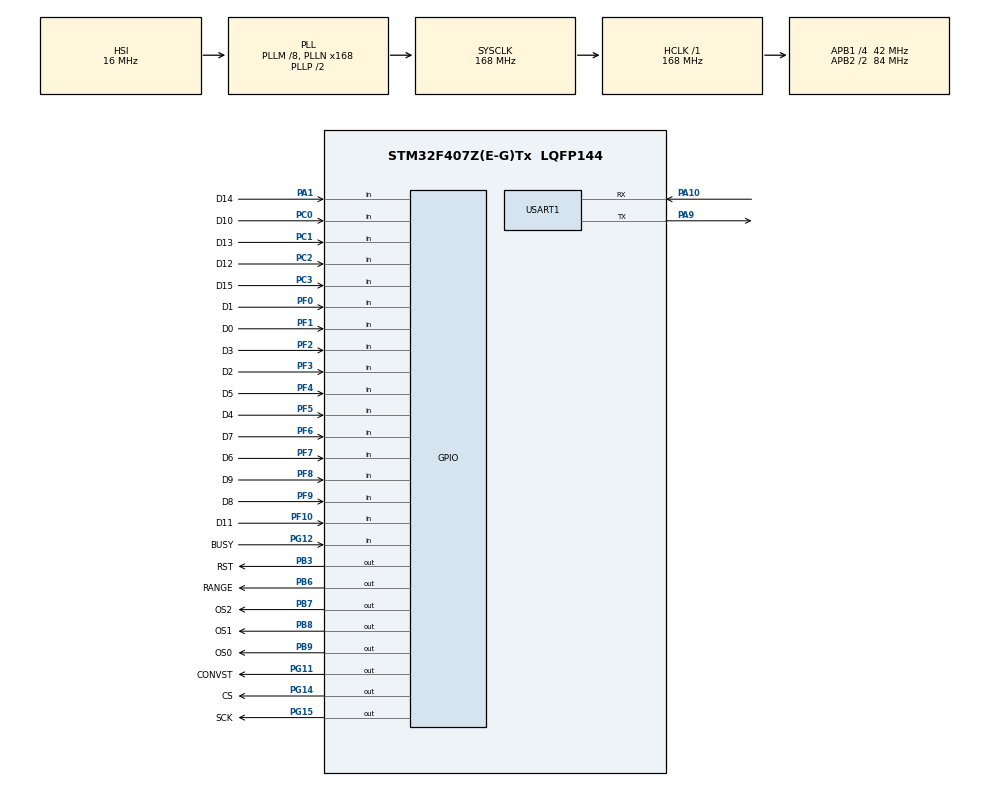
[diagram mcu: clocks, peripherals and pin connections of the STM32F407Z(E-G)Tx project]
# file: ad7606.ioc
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Mcu.Family=STM32F4
Mcu.Name=STM32F407Z(E-G)Tx
Mcu.Package=LQFP144
NVIC.PriorityGroup=NVIC_PRIORITYGROUP_4
PA1.GPIO_Label=D14
PA1.GPIO_PuPd=GPIO_NOPULL
PA1.Signal=GPIO_Input
PA10.Mode=Asynchronous
PA10.Signal=USART1_RX
PA13.Mode=Serial_Wire
PA13.Signal=SYS_JTMS-SWDIO
PA14.Mode=Serial_Wire
PA14.Signal=SYS_JTCK-SWCLK
PA9.Mode=Asynchronous
PA9.Signal=USART1_TX
PB3.GPIO_Label=RST
PB3.PinState=GPIO_PIN_SET
PB3.Signal=GPIO_Output
PB6.GPIO_Label=RANGE
PB6.Signal=GPIO_Output
PB7.GPIO_Label=OS2
PB7.Signal=GPIO_Output
PB8.GPIO_Label=OS1
PB8.Signal=GPIO_Output
PB9.GPIO_Label=OS0
PB9.Signal=GPIO_Output
PC0.GPIO_Label=D10
PC0.Signal=GPIO_Input
PC1.GPIO_Label=D13
PC1.Signal=GPIO_Input
PC2.GPIO_Label=D12
PC2.Signal=GPIO_Input
PC3.GPIO_Label=D15
PC3.Signal=GPIO_Input
PF0.GPIO_Label=D1
PF0.Signal=GPIO_Input
PF1.GPIO_Label=D0
PF1.Signal=GPIO_Input
PF10.GPIO_Label=D11
PF10.Signal=GPIO_Input
PF2.GPIO_Label=D3
PF2.Signal=GPIO_Input
PF3.GPIO_Label=D2
PF3.Signal=GPIO_Input
PF4.GPIO_Label=D5
PF4.Signal=GPIO_Input
PF5.GPIO_Label=D4
PF5.Signal=GPIO_Input
PF6.GPIO_Label=D7
PF6.Signal=GPIO_Input
PF7.GPIO_Label=D6
PF7.Signal=GPIO_Input
PF8.GPIO_Label=D9
PF8.GPIO_PuPd=GPIO_NOPULL
PF8.Signal=GPIO_Input
PF9.GPIO_Label=D8
PF9.Signal=GPIO_Input
PG11.GPIO_Label=CONVST
PG11.Signal=GPIO_Output
PG12.GPIO_Label=BUSY
PG12.GPIO_PuPd=GPIO_PULLUP
PG12.Signal=GPIO_Input
PG14.GPIO_Label=CS
PG14.PinState=GPIO_PIN_SET
PG14.Signal=GPIO_Output
PG15.GPIO_Label=SCK
PG15.PinState=GPIO_PIN_SET
PG15.Signal=GPIO_Output
PH0-OSC_IN.Mode=HSE-External-Oscillator
PH0-OSC_IN.Signal=RCC_OSC_IN
PH1-OSC_OUT.Mode=HSE-External-Oscillator
PH1-OSC_OUT.Signal=RCC_OSC_OUT
ProjectManager.HeapSize=0x200
ProjectManager.StackSize=0x400
ProjectManager.TargetToolchain=MDK-ARM V5.32
RCC.48MHZClocksFreq_Value=84000000
RCC.AHBFreq_Value=168000000
RCC.APB1CLKDivider=RCC_HCLK_DIV4
RCC.APB1Freq_Value=42000000
RCC.APB1TimFreq_Value=84000000
RCC.APB2CLKDivider=RCC_HCLK_DIV2
RCC.APB2Freq_Value=84000000
RCC.APB2TimFreq_Value=168000000
RCC.CortexFreq_Value=168000000
RCC.HCLKFreq_Value=168000000
RCC.HSE_VALUE=25000000
RCC.HSI_VALUE=16000000
RCC.LSE_VALUE=32768
RCC.PLLM=8
RCC.PLLN=168
RCC.SYSCLKFreq_VALUE=168000000
RCC.SYSCLKSource=RCC_SYSCLKSOURCE_PLLCLK
RCC.VCOOutputFreq_Value=336000000
USART1.VirtualMode=VM_ASYNC
board=custom

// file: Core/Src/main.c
/* USER CODE BEGIN Header */
/*
PC3->D15	PA1->D14
PC1->D13	PC2->D12
PF10->D11	PC0->D10
PF8->D9	PF9->D8
PF6->D7(MISO)	PF7->D6
PF4->D5	PF5->D4
PF2->D3	PF3->D2
PF0->D1	PF1->D0

CONVST-->PG11
OS1-->PB8
OS0-->PB9
RANGE-->PB6
OS2-->PB7
SCK-->PG15
RST-->PB3
CS-->PG14
BUSY->PG12
*/
/**
  ******************************************************************************
  * @file           : main.c
  * @brief          : Main program body
  ******************************************************************************
  * @attention
  *
  * Copyright (c) 2025 STMicroelectronics.
  * All rights reserved.
  *
  * This software is licensed under terms that can be found in the LICENSE file
  * in the root directory of this software component.
  * If no LICENSE file comes with this software, it is provided AS-IS.
  *
  ******************************************************************************
  */
/* USER CODE END Header */
#include "main.h"
#include "usart.h"
#include "gpio.h"

/* USER CODE BEGIN Includes */
#include "stdio.h"
#include "ad7606.h"
/* USER CODE END Includes */

/* USER CODE BEGIN PTD */
void GPIO_PrintStatus(void)
{
    // 读取关键引脚电平，打印到串口
    uint8_t convst = HAL_GPIO_ReadPin(GPIOG, CONVST_Pin);
    uint8_t cs     = HAL_GPIO_ReadPin(CS_GPIO_Port, CS_Pin);
    uint8_t sck    = HAL_GPIO_ReadPin(GPIOG, SCK_Pin);
    uint8_t busy   = HAL_GPIO_ReadPin(BUSY_GPIO_Port, BUSY_Pin);

    // 读取部分数据线状态示例
    uint8_t d0 = HAL_GPIO_ReadPin(GPIOF, D0_Pin);
    uint8_t d1 = HAL_GPIO_ReadPin(GPIOF, D1_Pin);
    uint8_t d2 = HAL_GPIO_ReadPin(GPIOF, D2_Pin);
    uint8_t d3 = HAL_GPIO_ReadPin(GPIOF, D3_Pin);

    printf("CONVST=%d, CS=%d, SCK=%d, BUSY=%d, D0=%d, D1=%d, D2=%d, D3=%d\r\n",
        convst, cs, sck, busy, d0, d1, d2, d3);
}
/* USER CODE END PTD */

/* USER CODE BEGIN PV */
extern uint16_t datatemp[8];

/* USER CODE END PV */

void SystemClock_Config(void);
/* USER CODE BEGIN PFP */
void AD7606_EmergencyFix() {
    // 启用GPIO内部上拉补偿硬件问题
    HAL_GPIO_WritePin(GPIOF, GPIO_PIN_8, GPIO_PIN_SET);  // PF8强制上拉
    HAL_GPIO_WritePin(GPIOA, GPIO_PIN_1, GPIO_PIN_SET);  // PA1强制上拉
    __HAL_RCC_GPIOF_CLK_ENABLE();
    __HAL_RCC_GPIOA_CLK_ENABLE();
}
/* USER CODE END PFP */

/* USER CODE BEGIN 0 */
void DataBus_DebugPrint(void) {
    printf("Data Bus Status:\n");
    printf("PF0(D1):%d PF1(D0):%d PF2(D3):%d PF3(D2):%d\n",
           HAL_GPIO_ReadPin(GPIOF, GPIO_PIN_0),
           HAL_GPIO_ReadPin(GPIOF, GPIO_PIN_1),
           HAL_GPIO_ReadPin(GPIOF, GPIO_PIN_2),
           HAL_GPIO_ReadPin(GPIOF, GPIO_PIN_3));
    printf("PF4(D5):%d PF5(D4):%d PF6(D7):%d PF7(D6):%d\n",
           HAL_GPIO_ReadPin(GPIOF, GPIO_PIN_4),
           HAL_GPIO_ReadPin(GPIOF, GPIO_PIN_5),
           HAL_GPIO_ReadPin(GPIOF, GPIO_PIN_6),
           HAL_GPIO_ReadPin(GPIOF, GPIO_PIN_7));
    printf("PF8(D9):%d PF9(D8):%d PF10(D11):%d PC0(D10):%d\n",
           HAL_GPIO_ReadPin(GPIOF, GPIO_PIN_8),
           HAL_GPIO_ReadPin(GPIOF, GPIO_PIN_9),
           HAL_GPIO_ReadPin(GPIOF, GPIO_PIN_10),
           HAL_GPIO_ReadPin(GPIOC, GPIO_PIN_0));
    printf("PC1(D13):%d PC2(D12):%d PA1(D14):%d PC3(D15):%d\n",
           HAL_GPIO_ReadPin(GPIOC, GPIO_PIN_1),
           HAL_GPIO_ReadPin(GPIOC, GPIO_PIN_2),
           HAL_GPIO_ReadPin(GPIOA, GPIO_PIN_1),
           HAL_GPIO_ReadPin(GPIOC, GPIO_PIN_3));
}
float AD7606_DataToVoltage(int16_t raw)
{
    return ((float)raw / 32768.0f) * 10000.0f;  // ±10V模式
}

void GPIO_ForceTest(void) {
    // 配置PF8和PA1为输出模式
    GPIO_InitTypeDef GPIO_InitStruct = {0};
    GPIO_InitStruct.Mode = GPIO_MODE_OUTPUT_PP;
    GPIO_InitStruct.Pull = GPIO_NOPULL;
    GPIO_InitStruct.Speed = GPIO_SPEED_FREQ_HIGH;

    // 测试PF8 (D9)
    GPIO_InitStruct.Pin = GPIO_PIN_8;
    HAL_GPIO_Init(GPIOF, &GPIO_InitStruct);

    // 测试高低电平切换
    printf("Testing PF8 (D9):\n");
		HAL_GPIO_WritePin(GPIOF, GPIO_PIN_8, GPIO_PIN_RESET);
    printf("RESET: %d\n", HAL_GPIO_ReadPin(GPIOF, GPIO_PIN_8));
    HAL_GPIO_WritePin(GPIOF, GPIO_PIN_8, GPIO_PIN_SET);
    printf("SET: %d\n", HAL_GPIO_ReadPin(GPIOF, GPIO_PIN_8));
    HAL_Delay(100);

    HAL_Delay(100);

    // 测试PA1 (D14)
    GPIO_InitStruct.Pin = GPIO_PIN_1;
    HAL_GPIO_Init(GPIOA, &GPIO_InitStruct);

    printf("Testing PA1 (D14):\n");
	  HAL_GPIO_WritePin(GPIOA, GPIO_PIN_1, GPIO_PIN_RESET);
    printf("RESET: %d\n", HAL_GPIO_ReadPin(GPIOA, GPIO_PIN_1));
    HAL_GPIO_WritePin(GPIOA, GPIO_PIN_1, GPIO_PIN_SET);
    printf("SET: %d\n", HAL_GPIO_ReadPin(GPIOA, GPIO_PIN_1));
    HAL_Delay(100);

    // 恢复为输入模式（带内部上拉）
    GPIO_InitStruct.Mode = GPIO_MODE_INPUT;
    GPIO_InitStruct.Pull = GPIO_PULLUP;
    GPIO_InitStruct.Pin = GPIO_PIN_8;
    HAL_GPIO_Init(GPIOF, &GPIO_InitStruct);
    GPIO_InitStruct.Pin = GPIO_PIN_1;
    HAL_GPIO_Init(GPIOA, &GPIO_InitStruct);
}
/* USER CODE END 0 */

int main(void)
{

  /* MCU Configuration--------------------------------------------------------*/

  /* Reset of all peripherals, Initializes the Flash interface and the Systick. */
  HAL_Init();

  /* Configure the system clock */
  SystemClock_Config();

  /* Initialize all configured peripherals */
  MX_GPIO_Init();
  MX_USART1_UART_Init();
  /* USER CODE BEGIN 2 */
int16_t ad7606_raw[8];
int16_t ad_data[8];
		AD7606_GPIO_Init();
    AD7606_SetOS(0);
    AD7606_SetRange(1);
    HAL_Delay(10);  // 新增延时，确保电平稳定

		    GPIO_ForceTest();
    DataBus_DebugPrint();
  /* USER CODE END 2 */

  /* Infinite loop */
  while (1)
  {

  }
}

void SystemClock_Config(void)
{
  RCC_OscInitTypeDef RCC_OscInitStruct = {0};
  RCC_ClkInitTypeDef RCC_ClkInitStruct = {0};

  /** Configure the main internal regulator output voltage
  */
  __HAL_RCC_PWR_CLK_ENABLE();
  __HAL_PWR_VOLTAGESCALING_CONFIG(PWR_REGULATOR_VOLTAGE_SCALE1);

  /** Initializes the RCC Oscillators according to the specified parameters
  * in the RCC_OscInitTypeDef structure.
  */
  RCC_OscInitStruct.OscillatorType = RCC_OSCILLATORTYPE_HSI;
  RCC_OscInitStruct.HSIState = RCC_HSI_ON;
  RCC_OscInitStruct.HSICalibrationValue = RCC_HSICALIBRATION_DEFAULT;
  RCC_OscInitStruct.PLL.PLLState = RCC_PLL_ON;
  RCC_OscInitStruct.PLL.PLLSource = RCC_PLLSOURCE_HSI;
  RCC_OscInitStruct.PLL.PLLM = 8;
  RCC_OscInitStruct.PLL.PLLN = 168;
  RCC_OscInitStruct.PLL.PLLP = RCC_PLLP_DIV2;
  RCC_OscInitStruct.PLL.PLLQ = 4;
  if (HAL_RCC_OscConfig(&RCC_OscInitStruct) != HAL_OK)
  {
    Error_Handler();
  }

  /** Initializes the CPU, AHB and APB buses clocks
  */
  RCC_ClkInitStruct.ClockType = RCC_CLOCKTYPE_HCLK|RCC_CLOCKTYPE_SYSCLK
                              |RCC_CLOCKTYPE_PCLK1|RCC_CLOCKTYPE_PCLK2;
  RCC_ClkInitStruct.SYSCLKSource = RCC_SYSCLKSOURCE_PLLCLK;
  RCC_ClkInitStruct.AHBCLKDivider = RCC_SYSCLK_DIV1;
  RCC_ClkInitStruct.APB1CLKDivider = RCC_HCLK_DIV4;
  RCC_ClkInitStruct.APB2CLKDivider = RCC_HCLK_DIV2;

  if (HAL_RCC_ClockConfig(&RCC_ClkInitStruct, FLASH_LATENCY_5) != HAL_OK)
  {
    Error_Handler();
  }
}

void Error_Handler(void)
{
  __disable_irq();
  while (1)
  {
  }
}
